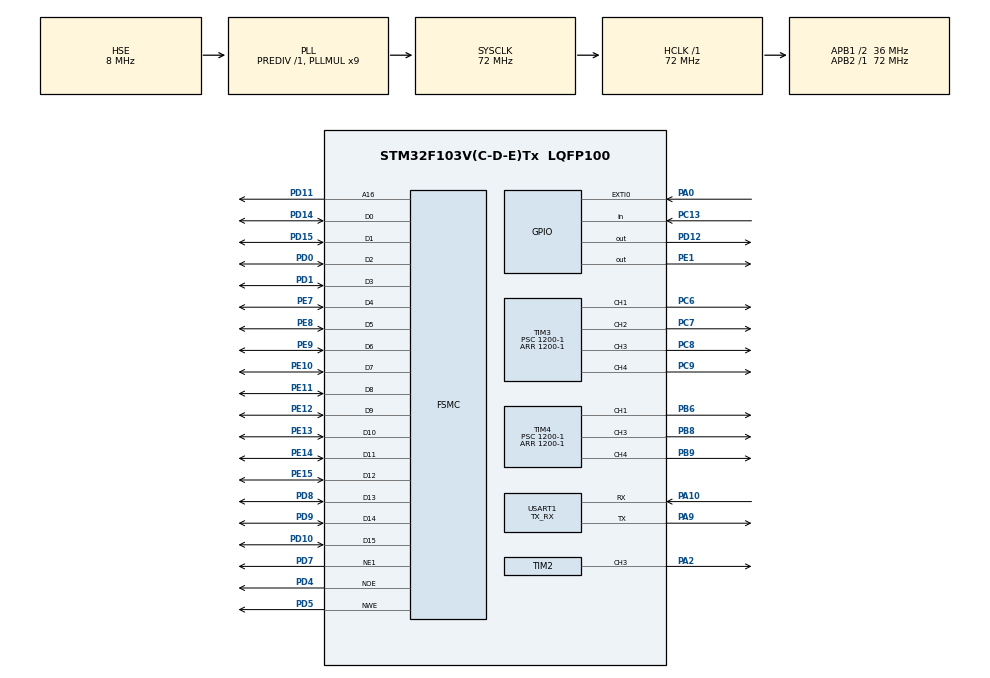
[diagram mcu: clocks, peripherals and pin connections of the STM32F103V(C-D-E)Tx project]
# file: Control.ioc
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Mcu.Family=STM32F1
Mcu.Name=STM32F103V(C-D-E)Tx
Mcu.Package=LQFP100
NVIC.EXTI0_IRQn=true\:0\:0\:false\:false\:true\:true\:true\:true
NVIC.PriorityGroup=NVIC_PRIORITYGROUP_4
OSC_IN.Mode=HSE-External-Oscillator
OSC_IN.Signal=RCC_OSC_IN
OSC_OUT.Mode=HSE-External-Oscillator
OSC_OUT.Signal=RCC_OSC_OUT
PA0-WKUP.GPIO_ModeDefaultEXTI=GPIO_MODE_IT_RISING
PA0-WKUP.Signal=GPXTI0
PA10.Mode=Asynchronous
PA10.Signal=USART1_RX
PA13.Mode=Serial_Wire
PA13.Signal=SYS_JTMS-SWDIO
PA14.Mode=Serial_Wire
PA14.Signal=SYS_JTCK-SWCLK
PA2.Signal=S_TIM2_CH3
PA9.Mode=Asynchronous
PA9.Signal=USART1_TX
PB6.Signal=S_TIM4_CH1
PB8.Signal=S_TIM4_CH3
PB9.Signal=S_TIM4_CH4
PC13-TAMPER-RTC.GPIO_PuPd=GPIO_PULLDOWN
PC13-TAMPER-RTC.Signal=GPIO_Input
PC14-OSC32_IN.Mode=LSE-External-Oscillator
PC14-OSC32_IN.Signal=RCC_OSC32_IN
PC15-OSC32_OUT.Mode=LSE-External-Oscillator
PC15-OSC32_OUT.Signal=RCC_OSC32_OUT
PC6.Signal=S_TIM3_CH1
PC7.Signal=S_TIM3_CH2
PC8.Signal=S_TIM3_CH3
PC9.Signal=S_TIM3_CH4
PD0.Mode=16b-d1
PD0.Signal=FSMC_D2
PD1.Mode=16b-d1
PD1.Signal=FSMC_D3
PD10.Mode=16b-d1
PD10.Signal=FSMC_D15
PD11.Mode=A16_1
PD11.Signal=FSMC_A16
PD12.GPIO_Speed=GPIO_SPEED_FREQ_HIGH
PD12.Signal=GPIO_Output
PD14.Mode=16b-d1
PD14.Signal=FSMC_D0
PD15.Mode=16b-d1
PD15.Signal=FSMC_D1
PD4.Mode=Lcd1
PD4.Signal=FSMC_NOE
PD5.Mode=Lcd1
PD5.Signal=FSMC_NWE
PD7.Mode=NorPsramChipSelect1_1
PD7.Signal=FSMC_NE1
PD8.Mode=16b-d1
PD8.Signal=FSMC_D13
PD9.Mode=16b-d1
PD9.Signal=FSMC_D14
PE1.GPIO_Speed=GPIO_SPEED_FREQ_HIGH
PE1.Signal=GPIO_Output
PE10.Mode=16b-d1
PE10.Signal=FSMC_D7
PE11.Mode=16b-d1
PE11.Signal=FSMC_D8
PE12.Mode=16b-d1
PE12.Signal=FSMC_D9
PE13.Mode=16b-d1
PE13.Signal=FSMC_D10
PE14.Mode=16b-d1
PE14.Signal=FSMC_D11
PE15.Mode=16b-d1
PE15.Signal=FSMC_D12
PE7.Mode=16b-d1
PE7.Signal=FSMC_D4
PE8.Mode=16b-d1
PE8.Signal=FSMC_D5
PE9.Mode=16b-d1
PE9.Signal=FSMC_D6
ProjectManager.HeapSize=0x200
ProjectManager.StackSize=0x400
ProjectManager.TargetToolchain=STM32CubeIDE
RCC.AHBFreq_Value=72000000
RCC.APB1CLKDivider=RCC_HCLK_DIV2
RCC.APB1Freq_Value=36000000
RCC.APB1TimFreq_Value=72000000
RCC.APB2Freq_Value=72000000
RCC.APB2TimFreq_Value=72000000
RCC.HCLKFreq_Value=72000000
RCC.PLLMUL=RCC_PLL_MUL9
RCC.PLLSourceVirtual=RCC_PLLSOURCE_HSE
RCC.SYSCLKFreq_VALUE=72000000
RCC.SYSCLKSource=RCC_SYSCLKSOURCE_PLLCLK
RCC.USBFreq_Value=72000000
SH.S_TIM2_CH3.0=TIM2_CH3,PWM Generation3 CH3
SH.S_TIM3_CH1.0=TIM3_CH1,PWM Generation1 CH1
SH.S_TIM3_CH2.0=TIM3_CH2,PWM Generation2 CH2
SH.S_TIM3_CH3.0=TIM3_CH3,PWM Generation3 CH3
SH.S_TIM3_CH4.0=TIM3_CH4,PWM Generation4 CH4
SH.S_TIM4_CH1.0=TIM4_CH1,PWM Generation1 CH1
SH.S_TIM4_CH3.0=TIM4_CH3,PWM Generation3 CH3
SH.S_TIM4_CH4.0=TIM4_CH4,PWM Generation4 CH4
TIM2.Channel-PWM\ Generation3\ CH3=TIM_CHANNEL_3
TIM2.Period=1200-1
TIM2.Prescaler=1200-1
TIM2.Pulse-PWM\ Generation3\ CH3=30
TIM3.Channel-PWM\ Generation1\ CH1=TIM_CHANNEL_1
TIM3.Channel-PWM\ Generation2\ CH2=TIM_CHANNEL_2
TIM3.Channel-PWM\ Generation3\ CH3=TIM_CHANNEL_3
TIM3.Channel-PWM\ Generation4\ CH4=TIM_CHANNEL_4
TIM3.OCPolarity_2=TIM_OCPOLARITY_HIGH
TIM3.Period=1200-1
TIM3.Prescaler=1200-1
TIM3.Pulse-PWM\ Generation1\ CH1=28
TIM3.Pulse-PWM\ Generation2\ CH2=28
TIM3.Pulse-PWM\ Generation3\ CH3=28
TIM3.Pulse-PWM\ Generation4\ CH4=28
TIM4.Channel-PWM\ Generation1\ CH1=TIM_CHANNEL_1
TIM4.Channel-PWM\ Generation3\ CH3=TIM_CHANNEL_3
TIM4.Channel-PWM\ Generation4\ CH4=TIM_CHANNEL_4
TIM4.Period=1200-1
TIM4.Prescaler=1200-1
TIM4.Pulse-PWM\ Generation1\ CH1=28
TIM4.Pulse-PWM\ Generation3\ CH3=28
TIM4.Pulse-PWM\ Generation4\ CH4=28
USART1.Mode=MODE_TX_RX
USART1.VirtualMode=VM_ASYNC
VP_TIM2_VS_ClockSourceINT.Mode=Internal
VP_TIM3_VS_ClockSourceINT.Mode=Internal
VP_TIM4_VS_ClockSourceINT.Mode=Internal
board=custom

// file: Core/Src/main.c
/* USER CODE BEGIN Header */
/**
  ******************************************************************************
  * @file           : main.c
  * @brief          : Main program body
  ******************************************************************************
  * @attention
  *
  * Copyright (c) 2023 STMicroelectronics.
  * All rights reserved.
  *
  * This software is licensed under terms that can be found in the LICENSE file
  * in the root directory of this software component.
  * If no LICENSE file comes with this software, it is provided AS-IS.
  *
  ******************************************************************************
  */
/* USER CODE END Header */
#include "main.h"
#include "tim.h"
#include "usart.h"
#include "gpio.h"
#include "fsmc.h"

/* USER CODE BEGIN Includes */
#include <stdio.h>
#include "lcd.h"
#include "servo.h"
#include "movement.h"
#include "test.h"
#include "process.h"
/* USER CODE END Includes */

void SystemClock_Config(void);

int main(void)
{

  /* MCU Configuration--------------------------------------------------------*/

  /* Reset of all peripherals, Initializes the Flash interface and the Systick. */
  HAL_Init();

  /* Configure the system clock */
  SystemClock_Config();

  /* Initialize all configured peripherals */
  MX_GPIO_Init();
  MX_FSMC_Init();
  MX_TIM3_Init();
  MX_TIM4_Init();
  MX_TIM2_Init();
  MX_USART1_UART_Init();
  /* USER CODE BEGIN 2 */
  HAL_TIM_PWM_Start(&htim4, TIM_CHANNEL_1);
  HAL_TIM_PWM_Start(&htim2, TIM_CHANNEL_3);
  HAL_TIM_PWM_Start(&htim4, TIM_CHANNEL_3);
  HAL_TIM_PWM_Start(&htim4, TIM_CHANNEL_4);
  HAL_TIM_PWM_Start(&htim3, TIM_CHANNEL_1);
  HAL_TIM_PWM_Start(&htim3, TIM_CHANNEL_2);
  HAL_TIM_PWM_Start(&htim3, TIM_CHANNEL_3);
  HAL_TIM_PWM_Start(&htim3, TIM_CHANNEL_4);

  LCD_INIT();
  /* USER CODE END 2 */

  /* Infinite loop */
  while (1)
  {

    /* USER CODE BEGIN 3 */
	  servo_init();
	  uint8_t choice = 0;
	  char input[5];
	  HAL_UART_Receive(&huart1, input, sizeof(input), 0xFFFF);
	  choice = input[4]-'1'+1;
	  mode(choice);
  }
  /* USER CODE END 3 */
}

void SystemClock_Config(void)
{
  RCC_OscInitTypeDef RCC_OscInitStruct = {0};
  RCC_ClkInitTypeDef RCC_ClkInitStruct = {0};

  /** Initializes the RCC Oscillators according to the specified parameters
  * in the RCC_OscInitTypeDef structure.
  */
  RCC_OscInitStruct.OscillatorType = RCC_OSCILLATORTYPE_HSE;
  RCC_OscInitStruct.HSEState = RCC_HSE_ON;
  RCC_OscInitStruct.HSEPredivValue = RCC_HSE_PREDIV_DIV1;
  RCC_OscInitStruct.HSIState = RCC_HSI_ON;
  RCC_OscInitStruct.PLL.PLLState = RCC_PLL_ON;
  RCC_OscInitStruct.PLL.PLLSource = RCC_PLLSOURCE_HSE;
  RCC_OscInitStruct.PLL.PLLMUL = RCC_PLL_MUL9;
  if (HAL_RCC_OscConfig(&RCC_OscInitStruct) != HAL_OK)
  {
    Error_Handler();
  }

  /** Initializes the CPU, AHB and APB buses clocks
  */
  RCC_ClkInitStruct.ClockType = RCC_CLOCKTYPE_HCLK|RCC_CLOCKTYPE_SYSCLK
                              |RCC_CLOCKTYPE_PCLK1|RCC_CLOCKTYPE_PCLK2;
  RCC_ClkInitStruct.SYSCLKSource = RCC_SYSCLKSOURCE_PLLCLK;
  RCC_ClkInitStruct.AHBCLKDivider = RCC_SYSCLK_DIV1;
  RCC_ClkInitStruct.APB1CLKDivider = RCC_HCLK_DIV2;
  RCC_ClkInitStruct.APB2CLKDivider = RCC_HCLK_DIV1;

  if (HAL_RCC_ClockConfig(&RCC_ClkInitStruct, FLASH_LATENCY_2) != HAL_OK)
  {
    Error_Handler();
  }
}

void Error_Handler(void)
{
  __disable_irq();
  while (1)
  {
  }
}
